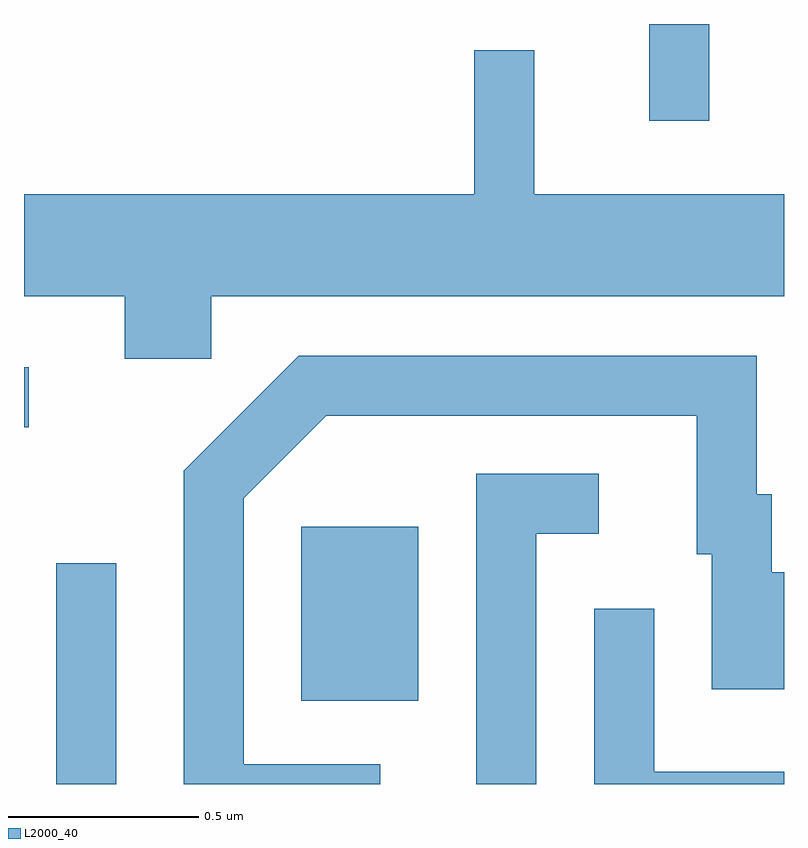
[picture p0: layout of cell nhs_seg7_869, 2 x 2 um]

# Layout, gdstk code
import gdstk
lib = gdstk.Library(unit=1e-6, precision=1e-09)
def R(c, l, rs):  # rectangles x0, y0, x1, y1
    for r in rs: c.add(gdstk.rectangle(r[:2], r[2:], *l))
def P(c, l, *ps):  # polygons
    for p in ps: c.add(gdstk.Polygon(p, *l))
L2000_40 = (2000, 40)

nhs_seg7_869 = lib.new_cell('nhs_seg7_869')
R(nhs_seg7_869, L2000_40, [(191.696,1715.252,191.854,1715.833), (192.341,1715.471,192.649,1715.929), (191.611,1716.191,191.623,1716.349), (193.256,1716.998,193.414,1717.252)])
P(nhs_seg7_869, L2000_40, [(192.104,1716.536),(193.611,1716.536),(193.611,1716.804),(192.954,1716.804),(192.954,1717.183),(192.796,1717.183),(192.796,1716.804),(191.611,1716.804),(191.611,1716.536),(191.876,1716.536),(191.876,1716.371),(192.104,1716.371)],
  [(192.548,1715.304),(192.189,1715.304),(192.189,1716.004),(192.407,1716.221),(193.381,1716.221),(193.381,1715.856),(193.421,1715.856),(193.421,1715.501),(193.611,1715.501),(193.611,1715.809),(193.579,1715.809),(193.579,1716.014),(193.539,1716.014),(193.539,1716.379),(192.334,1716.379),(192.031,1716.077),(192.031,1715.252),(192.548,1715.252)],
  [(192.959,1715.911),(193.123,1715.911),(193.123,1716.069),(192.801,1716.069),(192.801,1715.252),(192.959,1715.252)],
  [(193.611,1715.284),(193.269,1715.284),(193.269,1715.713),(193.111,1715.713),(193.111,1715.252),(193.611,1715.252)])

lib.write_gds('nhs_seg7_869.gds')
